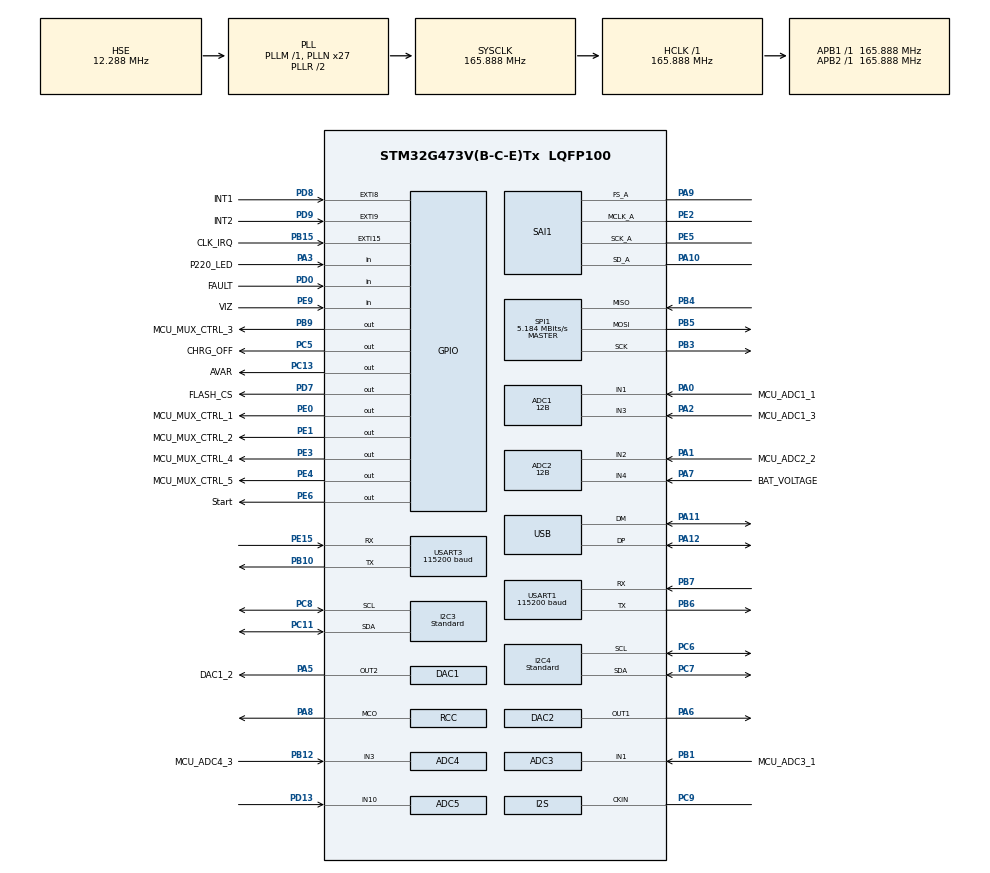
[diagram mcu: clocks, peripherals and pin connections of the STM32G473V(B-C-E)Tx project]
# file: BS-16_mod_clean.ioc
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ADC1.Channel-1\#ChannelRegularConversion=ADC_CHANNEL_1
ADC1.Channel-2\#ChannelRegularConversion=ADC_CHANNEL_3
ADC1.ClockPrescaler=ADC_CLOCK_SYNC_PCLK_DIV4
ADC1.ContinuousConvMode=DISABLE
ADC1.DMAContinuousRequests=DISABLE
ADC1.DataAlign=ADC_DATAALIGN_RIGHT
ADC1.DiscontinuousConvMode=DISABLE
ADC1.EOCSelection=ADC_EOC_SEQ_CONV
ADC1.EnableAnalogWatchDog1=false
ADC1.EnableAnalogWatchDog2=false
ADC1.EnableAnalogWatchDog3=false
ADC1.EnableInjectedConversion=DISABLE
ADC1.EnableRegularConversion=ENABLE
ADC1.ExternalTrigConv=ADC_SOFTWARE_START
ADC1.ExternalTrigConvEdge=ADC_EXTERNALTRIGCONVEDGE_NONE
ADC1.GainCompensation=0
ADC1.LowPowerAutoWait=DISABLE
ADC1.Mode=ADC_MODE_INDEPENDENT
ADC1.NbrOfConversion=2
ADC1.OffsetNumber-1\#ChannelRegularConversion=ADC_OFFSET_NONE
ADC1.OffsetNumber-2\#ChannelRegularConversion=ADC_OFFSET_NONE
ADC1.Overrun=ADC_OVR_DATA_PRESERVED
ADC1.OversamplingMode=DISABLE
ADC1.Rank-1\#ChannelRegularConversion=1
ADC1.Rank-2\#ChannelRegularConversion=2
ADC1.Resolution=ADC_RESOLUTION_12B
ADC1.SamplingTime-1\#ChannelRegularConversion=ADC_SAMPLETIME_92CYCLES_5
ADC1.SamplingTime-2\#ChannelRegularConversion=ADC_SAMPLETIME_92CYCLES_5
ADC1.ScanConvMode=ADC_SCAN_ENABLE
ADC1.master=1
ADC2.Channel-4\#ChannelRegularConversion=ADC_CHANNEL_2
ADC2.ClockPrescaler=ADC_CLOCK_SYNC_PCLK_DIV4
ADC2.ContinuousConvMode=DISABLE
ADC2.DMAContinuousRequests=DISABLE
ADC2.DataAlign=ADC_DATAALIGN_RIGHT
ADC2.DiscontinuousConvMode=DISABLE
ADC2.EOCSelection=ADC_EOC_SINGLE_CONV
ADC2.EnableAnalogWatchDog1=false
ADC2.EnableAnalogWatchDog2=false
ADC2.EnableAnalogWatchDog3=false
ADC2.EnableInjectedConversion=ENABLE
ADC2.EnableRegularConversion=ENABLE
ADC2.GainCompensation=0
ADC2.InjNumberOfConversion=1
ADC2.InjectedChannel-3\#ChannelInjectedConversion=ADC_CHANNEL_4
ADC2.InjectedConvMode=None
ADC2.InjectedOffsetNumber-3\#ChannelInjectedConversion=ADC_OFFSET_NONE
ADC2.InjectedRank-3\#ChannelInjectedConversion=1
ADC2.InjectedSamplingTime-3\#ChannelInjectedConversion=ADC_SAMPLETIME_92CYCLES_5
ADC2.LowPowerAutoWait=DISABLE
ADC2.Mode=ADC_MODE_INDEPENDENT
ADC2.NbrOfConversionFlag=1
ADC2.OffsetNumber-4\#ChannelRegularConversion=ADC_OFFSET_NONE
ADC2.Overrun=ADC_OVR_DATA_PRESERVED
ADC2.OversamplingMode=DISABLE
ADC2.Rank-4\#ChannelRegularConversion=1
ADC2.Resolution=ADC_RESOLUTION_12B
ADC2.SamplingTime-4\#ChannelRegularConversion=ADC_SAMPLETIME_92CYCLES_5
ADC2.ScanConvMode=ADC_SCAN_DISABLE
ADC3.Channel-1\#ChannelRegularConversion=ADC_CHANNEL_1
ADC3.Channel-IN1=ADC_CHANNEL_1
ADC3.ContinuousConvMode=DISABLE
ADC3.DMAContinuousRequests=DISABLE
ADC3.DataAlign=ADC_DATAALIGN_RIGHT
ADC3.DiscontinuousConvMode=DISABLE
ADC3.EOCSelection=ADC_EOC_SINGLE_CONV
ADC3.EnableAnalogWatchDog1=false
ADC3.EnableAnalogWatchDog2=false
ADC3.EnableAnalogWatchDog3=false
ADC3.EnableInjectedConversion=DISABLE
ADC3.EnableRegularConversion=ENABLE
ADC3.ExternalTrigConv=ADC_SOFTWARE_START
ADC3.ExternalTrigConvEdge=ADC_EXTERNALTRIGCONVEDGE_NONE
ADC3.GainCompensation=0
ADC3.LowPowerAutoWait=DISABLE
ADC3.Mode=ADC_MODE_INDEPENDENT
ADC3.NbrOfConversion=1
ADC3.OffsetNumber-1\#ChannelRegularConversion=ADC_OFFSET_NONE
ADC3.Overrun=ADC_OVR_DATA_PRESERVED
ADC3.OversamplingMode=DISABLE
ADC3.Rank-1\#ChannelRegularConversion=1
ADC3.Resolution=ADC_RESOLUTION_12B
ADC3.SamplingTime-1\#ChannelRegularConversion=ADC_SAMPLETIME_2CYCLES_5
ADC3.ScanConvMode=ADC_SCAN_DISABLE
ADC3.master=1
ADC4.Channel-1\#ChannelRegularConversion=ADC_CHANNEL_3
ADC4.Channel-IN3=ADC_CHANNEL_3
ADC4.ClockPrescaler=ADC_CLOCK_SYNC_PCLK_DIV4
ADC4.ContinuousConvMode=DISABLE
ADC4.DMAContinuousRequests=DISABLE
ADC4.DataAlign=ADC_DATAALIGN_RIGHT
ADC4.DiscontinuousConvMode=DISABLE
ADC4.EOCSelection=ADC_EOC_SINGLE_CONV
ADC4.EnableAnalogWatchDog1=false
ADC4.EnableAnalogWatchDog2=false
ADC4.EnableAnalogWatchDog3=false
ADC4.EnableInjectedConversion=DISABLE
ADC4.EnableRegularConversion=ENABLE
ADC4.ExternalTrigConv=ADC_EXTERNALTRIG_T20_TRGO
ADC4.ExternalTrigConvEdge=ADC_EXTERNALTRIGCONVEDGE_RISING
ADC4.GainCompensation=0
ADC4.LowPowerAutoWait=DISABLE
ADC4.Mode=ADC_MODE_INDEPENDENT
ADC4.NbrOfConversion=1
ADC4.OffsetNumber-1\#ChannelRegularConversion=ADC_OFFSET_NONE
ADC4.Overrun=ADC_OVR_DATA_PRESERVED
ADC4.OversamplingMode=DISABLE
ADC4.Rank-1\#ChannelRegularConversion=1
ADC4.Resolution=ADC_RESOLUTION_12B
ADC4.SamplingTime-1\#ChannelRegularConversion=ADC_SAMPLETIME_12CYCLES_5
ADC4.ScanConvMode=ADC_SCAN_DISABLE
ADC5.Channel-8\#ChannelRegularConversion=ADC_CHANNEL_10
ADC5.ContinuousConvMode=ENABLE
ADC5.DMAContinuousRequests=ENABLE
ADC5.ExternalTrigConv=ADC_EXTERNALTRIG_T15_TRGO
ADC5.NbrOfConversionFlag=1
ADC5.OffsetNumber-8\#ChannelRegularConversion=ADC_OFFSET_NONE
ADC5.Overrun=ADC_OVR_DATA_OVERWRITTEN
ADC5.Rank-8\#ChannelRegularConversion=1
ADC5.SamplingTime-8\#ChannelRegularConversion=ADC_SAMPLETIME_6CYCLES_5
DAC1.DAC_Channel-DAC_OUT2=DAC_CHANNEL_2
DAC1.DAC_Trigger_OUT2-DAC_OUT2=DAC_TRIGGER_T15_TRGO
DAC1.DAC_UserTrimming-DAC_OUT2=DAC_TRIMMING_FACTORY
DAC2.DAC_Trigger_OUT1-DAC_OUT1=DAC_TRIGGER_T15_TRGO
Dma.ADC1.0.Direction=DMA_PERIPH_TO_MEMORY
Dma.ADC1.0.EventEnable=DISABLE
Dma.ADC1.0.Instance=DMA1_Channel3
Dma.ADC1.0.MemDataAlignment=DMA_MDATAALIGN_HALFWORD
Dma.ADC1.0.MemInc=DMA_MINC_ENABLE
Dma.ADC1.0.Mode=DMA_NORMAL
Dma.ADC1.0.PeriphDataAlignment=DMA_PDATAALIGN_HALFWORD
Dma.ADC1.0.PeriphInc=DMA_PINC_DISABLE
Dma.ADC1.0.Polarity=HAL_DMAMUX_REQ_GEN_RISING
Dma.ADC1.0.Priority=DMA_PRIORITY_LOW
Dma.ADC1.0.RequestNumber=1
Dma.ADC1.0.SignalID=NONE
Dma.ADC1.0.SyncEnable=DISABLE
Dma.ADC1.0.SyncPolarity=HAL_DMAMUX_SYNC_NO_EVENT
Dma.ADC1.0.SyncRequestNumber=1
Dma.ADC1.0.SyncSignalID=NONE
Dma.ADC2.3.Direction=DMA_PERIPH_TO_MEMORY
Dma.ADC2.3.EventEnable=DISABLE
Dma.ADC2.3.Instance=DMA1_Channel7
Dma.ADC2.3.MemDataAlignment=DMA_MDATAALIGN_HALFWORD
Dma.ADC2.3.MemInc=DMA_MINC_ENABLE
Dma.ADC2.3.Mode=DMA_NORMAL
Dma.ADC2.3.PeriphDataAlignment=DMA_PDATAALIGN_HALFWORD
Dma.ADC2.3.PeriphInc=DMA_PINC_DISABLE
Dma.ADC2.3.Polarity=HAL_DMAMUX_REQ_GEN_RISING
Dma.ADC2.3.Priority=DMA_PRIORITY_LOW
Dma.ADC2.3.RequestNumber=1
Dma.ADC2.3.SignalID=NONE
Dma.ADC2.3.SyncEnable=DISABLE
Dma.ADC2.3.SyncPolarity=HAL_DMAMUX_SYNC_NO_EVENT
Dma.ADC2.3.SyncRequestNumber=1
Dma.ADC2.3.SyncSignalID=NONE
Dma.ADC3.1.Direction=DMA_PERIPH_TO_MEMORY
Dma.ADC3.1.EventEnable=DISABLE
Dma.ADC3.1.Instance=DMA1_Channel4
Dma.ADC3.1.MemDataAlignment=DMA_MDATAALIGN_HALFWORD
Dma.ADC3.1.MemInc=DMA_MINC_ENABLE
Dma.ADC3.1.Mode=DMA_NORMAL
Dma.ADC3.1.PeriphDataAlignment=DMA_PDATAALIGN_HALFWORD
Dma.ADC3.1.PeriphInc=DMA_PINC_DISABLE
Dma.ADC3.1.Polarity=HAL_DMAMUX_REQ_GEN_RISING
Dma.ADC3.1.Priority=DMA_PRIORITY_LOW
Dma.ADC3.1.RequestNumber=1
Dma.ADC3.1.SignalID=NONE
Dma.ADC3.1.SyncEnable=DISABLE
Dma.ADC3.1.SyncPolarity=HAL_DMAMUX_SYNC_NO_EVENT
Dma.ADC3.1.SyncRequestNumber=1
Dma.ADC3.1.SyncSignalID=NONE
Dma.ADC5.6.Direction=DMA_PERIPH_TO_MEMORY
Dma.ADC5.6.EventEnable=DISABLE
Dma.ADC5.6.Instance=DMA1_Channel2
Dma.ADC5.6.MemDataAlignment=DMA_MDATAALIGN_HALFWORD
Dma.ADC5.6.MemInc=DMA_MINC_ENABLE
Dma.ADC5.6.Mode=DMA_CIRCULAR
Dma.ADC5.6.PeriphDataAlignment=DMA_PDATAALIGN_HALFWORD
Dma.ADC5.6.PeriphInc=DMA_PINC_DISABLE
Dma.ADC5.6.Polarity=HAL_DMAMUX_REQ_GEN_RISING
Dma.ADC5.6.Priority=DMA_PRIORITY_LOW
Dma.ADC5.6.RequestNumber=1
Dma.ADC5.6.SignalID=NONE
Dma.ADC5.6.SyncEnable=DISABLE
Dma.ADC5.6.SyncPolarity=HAL_DMAMUX_SYNC_NO_EVENT
Dma.ADC5.6.SyncRequestNumber=1
Dma.ADC5.6.SyncSignalID=NONE
Dma.DAC1_CH2.4.Direction=DMA_MEMORY_TO_PERIPH
Dma.DAC1_CH2.4.EventEnable=DISABLE
Dma.DAC1_CH2.4.Instance=DMA1_Channel8
Dma.DAC1_CH2.4.MemDataAlignment=DMA_MDATAALIGN_HALFWORD
Dma.DAC1_CH2.4.MemInc=DMA_MINC_ENABLE
Dma.DAC1_CH2.4.Mode=DMA_CIRCULAR
Dma.DAC1_CH2.4.PeriphDataAlignment=DMA_PDATAALIGN_WORD
Dma.DAC1_CH2.4.PeriphInc=DMA_PINC_DISABLE
Dma.DAC1_CH2.4.Polarity=HAL_DMAMUX_REQ_GEN_RISING
Dma.DAC1_CH2.4.Priority=DMA_PRIORITY_LOW
Dma.DAC1_CH2.4.RequestNumber=1
Dma.DAC1_CH2.4.SignalID=NONE
Dma.DAC1_CH2.4.SyncEnable=DISABLE
Dma.DAC1_CH2.4.SyncPolarity=HAL_DMAMUX_SYNC_NO_EVENT
Dma.DAC1_CH2.4.SyncRequestNumber=1
Dma.DAC1_CH2.4.SyncSignalID=NONE
Dma.DAC2_CH1.2.Direction=DMA_MEMORY_TO_PERIPH
Dma.DAC2_CH1.2.EventEnable=DISABLE
Dma.DAC2_CH1.2.Instance=DMA1_Channel5
Dma.DAC2_CH1.2.MemDataAlignment=DMA_MDATAALIGN_HALFWORD
Dma.DAC2_CH1.2.MemInc=DMA_MINC_ENABLE
Dma.DAC2_CH1.2.Mode=DMA_CIRCULAR
Dma.DAC2_CH1.2.PeriphDataAlignment=DMA_PDATAALIGN_WORD
Dma.DAC2_CH1.2.PeriphInc=DMA_PINC_DISABLE
Dma.DAC2_CH1.2.Polarity=HAL_DMAMUX_REQ_GEN_RISING
Dma.DAC2_CH1.2.Priority=DMA_PRIORITY_LOW
Dma.DAC2_CH1.2.RequestNumber=1
Dma.DAC2_CH1.2.SignalID=NONE
Dma.DAC2_CH1.2.SyncEnable=DISABLE
Dma.DAC2_CH1.2.SyncPolarity=HAL_DMAMUX_SYNC_NO_EVENT
Dma.DAC2_CH1.2.SyncRequestNumber=1
Dma.DAC2_CH1.2.SyncSignalID=NONE
Dma.Request0=ADC1
Dma.Request1=ADC3
Dma.Request2=DAC2_CH1
Dma.Request3=ADC2
Dma.Request4=DAC1_CH2
Dma.Request5=SAI1_A
Dma.Request6=ADC5
Dma.SAI1_A.5.Direction=DMA_MEMORY_TO_PERIPH
Dma.SAI1_A.5.EventEnable=DISABLE
Dma.SAI1_A.5.Instance=DMA1_Channel1
Dma.SAI1_A.5.MemDataAlignment=DMA_MDATAALIGN_WORD
Dma.SAI1_A.5.MemInc=DMA_MINC_ENABLE
Dma.SAI1_A.5.Mode=DMA_CIRCULAR
Dma.SAI1_A.5.PeriphDataAlignment=DMA_PDATAALIGN_WORD
Dma.SAI1_A.5.PeriphInc=DMA_PINC_DISABLE
Dma.SAI1_A.5.Polarity=HAL_DMAMUX_REQ_GEN_RISING
Dma.SAI1_A.5.Priority=DMA_PRIORITY_MEDIUM
Dma.SAI1_A.5.RequestNumber=1
Dma.SAI1_A.5.SignalID=NONE
Dma.SAI1_A.5.SyncEnable=DISABLE
Dma.SAI1_A.5.SyncPolarity=HAL_DMAMUX_SYNC_NO_EVENT
Dma.SAI1_A.5.SyncRequestNumber=1
Dma.SAI1_A.5.SyncSignalID=NONE
I2C3.AddressingMode=I2C_ADDRESSINGMODE_7BIT
I2C3.Analog_Filter=I2C_ANALOGFILTER_ENABLE
I2C3.CustomTiming=Disabled
I2C3.DualAddressMode=I2C_DUALADDRESS_DISABLE
I2C3.GeneralCallMode=I2C_GENERALCALL_DISABLE
I2C3.I2C_Coeff_DF=0
I2C3.I2C_Fall_Time=100
I2C3.I2C_Rise_Time=100
I2C3.I2C_Speed_Mode=I2C_Standard
I2C3.NoStretchMode=I2C_NOSTRETCH_DISABLE
I2C3.OwnAddress=0
I2C3.Speed=100
I2C3.Timing=0x40B282BD
I2C4.AddressingMode=I2C_ADDRESSINGMODE_7BIT
I2C4.Analog_Filter=I2C_ANALOGFILTER_ENABLE
I2C4.CustomTiming=Disabled
I2C4.DualAddressMode=I2C_DUALADDRESS_DISABLE
I2C4.GeneralCallMode=I2C_GENERALCALL_DISABLE
I2C4.I2C_Coeff_DF=0
I2C4.I2C_Fall_Time=100
I2C4.I2C_Rise_Time=100
I2C4.I2C_Speed_Mode=I2C_Standard
I2C4.NoStretchMode=I2C_NOSTRETCH_DISABLE
I2C4.OwnAddress=0
I2C4.Speed=100
I2C4.Timing=0x40B282BD
Mcu.Family=STM32G4
Mcu.Name=STM32G473V(B-C-E)Tx
Mcu.Package=LQFP100
NVIC.ADC1_2_IRQn=true\:0\:0\:false\:false\:true\:true\:true\:true
NVIC.ADC3_IRQn=true\:0\:0\:false\:false\:true\:true\:true\:true
NVIC.ADC4_IRQn=true\:0\:0\:false\:false\:true\:true\:true\:true
NVIC.ADC5_IRQn=true\:0\:0\:false\:false\:true\:true\:true\:true
NVIC.DMA1_Channel1_IRQn=true\:0\:0\:false\:false\:true\:false\:true\:true
NVIC.DMA1_Channel2_IRQn=true\:0\:0\:false\:false\:true\:false\:true\:true
NVIC.DMA1_Channel3_IRQn=true\:0\:0\:false\:false\:true\:false\:true\:true
NVIC.DMA1_Channel4_IRQn=true\:0\:0\:false\:false\:true\:false\:true\:true
NVIC.DMA1_Channel5_IRQn=true\:0\:0\:false\:false\:true\:false\:true\:true
NVIC.DMA1_Channel7_IRQn=true\:0\:0\:false\:false\:true\:false\:true\:true
NVIC.DMA1_Channel8_IRQn=true\:0\:0\:false\:false\:true\:false\:true\:true
NVIC.PriorityGroup=NVIC_PRIORITYGROUP_4
NVIC.TIM1_BRK_TIM15_IRQn=true\:0\:0\:false\:false\:true\:true\:true\:true
NVIC.TIM4_IRQn=true\:0\:0\:false\:false\:true\:true\:true\:true
NVIC.TIM6_DAC_IRQn=true\:0\:0\:false\:false\:true\:true\:true\:true
NVIC.TIM7_DAC_IRQn=true\:0\:0\:false\:false\:true\:true\:true\:true
NVIC.USART1_IRQn=true\:0\:0\:false\:false\:true\:true\:true\:true
NVIC.USART3_IRQn=true\:0\:0\:false\:false\:true\:true\:true\:true
NVIC.USB_HP_IRQn=true\:0\:0\:false\:false\:true\:true\:true\:true
NVIC.USB_LP_IRQn=true\:0\:0\:false\:false\:true\:false\:true\:true
PA0.GPIO_Label=MCU_ADC1_1
PA0.Mode=IN1-Single-Ended
PA0.Signal=ADC1_IN1
PA1.GPIO_Label=MCU_ADC2_2
PA1.Mode=IN2-Single-Ended
PA1.Signal=ADC2_IN2
PA10.GPIO_Speed=GPIO_SPEED_FREQ_LOW
PA10.Mode=SAI_A_MasterWithClock
PA10.Signal=SAI1_SD_A
PA11.Mode=Device
PA11.Signal=USB_DM
PA12.Mode=Device
PA12.Signal=USB_DP
PA13.Mode=Serial_Wire
PA13.Signal=SYS_JTMS-SWDIO
PA14.Mode=Serial_Wire
PA14.Signal=SYS_JTCK-SWCLK
PA2.GPIO_Label=MCU_ADC1_3
PA2.Mode=IN3-Single-Ended
PA2.Signal=ADC1_IN3
PA3.GPIO_Label=P220_LED
PA3.Signal=GPIO_Input
PA5.GPIO_Label=DAC1_2
PA5.Signal=COMP_DAC12_group
PA6.Signal=COMP_DAC21_group
PA7.GPIO_Label=BAT_VOLTAGE
PA7.Mode=IN4-Single-Ended
PA7.Signal=ADC2_IN4
PA8.Mode=Clock-out
PA8.Signal=RCC_MCO
PA9.GPIO_Speed=GPIO_SPEED_FREQ_LOW
PA9.Mode=SAI_A_MasterWithClock
PA9.Signal=SAI1_FS_A
PB1.GPIO_Label=MCU_ADC3_1
PB1.Mode=IN1-Single-Ended
PB1.Signal=ADC3_IN1
PB10.Mode=Asynchronous
PB10.Signal=USART3_TX
PB12.GPIO_Label=MCU_ADC4_3
PB12.Mode=IN3-Single-Ended
PB12.Signal=ADC4_IN3
PB15.GPIO_Label=CLK_IRQ
PB15.Signal=GPXTI15
PB3.Mode=Full_Duplex_Master
PB3.Signal=SPI1_SCK
PB4.Mode=Full_Duplex_Master
PB4.Signal=SPI1_MISO
PB5.Mode=Full_Duplex_Master
PB5.Signal=SPI1_MOSI
PB6.Mode=Asynchronous
PB6.Signal=USART1_TX
PB7.Mode=Asynchronous
PB7.Signal=USART1_RX
PB9.GPIO_Label=MCU_MUX_CTRL_3
PB9.Signal=GPIO_Output
PC11.GPIO_Pu=GPIO_PULLUP
PC11.Mode=I2C
PC11.Signal=I2C3_SDA
PC13.GPIO_Label=AVAR
PC13.Signal=GPIO_Output
PC14-OSC32_IN.Mode=LSE-External-Oscillator
PC14-OSC32_IN.Signal=RCC_OSC32_IN
PC15-OSC32_OUT.Mode=LSE-External-Oscillator
PC15-OSC32_OUT.Signal=RCC_OSC32_OUT
PC5.GPIO_Label=CHRG_OFF
PC5.GPIO_Speed=GPIO_SPEED_FREQ_LOW
PC5.Signal=GPIO_Output
PC6.GPIO_Pu=GPIO_PULLUP
PC6.Mode=I2C
PC6.Signal=I2C4_SCL
PC7.GPIO_Pu=GPIO_PULLUP
PC7.Mode=I2C
PC7.Signal=I2C4_SDA
PC8.GPIO_Pu=GPIO_PULLUP
PC8.Mode=I2C
PC8.Signal=I2C3_SCL
PC9.Mode=Audio_ClockIn
PC9.Signal=I2S_CKIN
PD0.GPIO_Label=FAULT
PD0.Signal=GPIO_Input
PD13.Mode=IN10-Single-Ended
PD13.Signal=ADC5_IN10
PD7.GPIO_Label=FLASH_CS
PD7.Signal=GPIO_Output
PD8.GPIO_Label=INT1
PD8.GPIO_ModeDefaultEXTI=GPIO_MODE_IT_RISING_FALLING
PD8.Signal=GPXTI8
PD9.GPIO_Label=INT2
PD9.Signal=GPXTI9
PE0.GPIO_Label=MCU_MUX_CTRL_1
PE0.Signal=GPIO_Output
PE1.GPIO_Label=MCU_MUX_CTRL_2
PE1.Signal=GPIO_Output
PE15.Mode=Asynchronous
PE15.Signal=USART3_RX
PE2.GPIO_Speed=GPIO_SPEED_FREQ_LOW
PE2.Mode=SAI_A_MasterWithClock
PE2.Signal=SAI1_MCLK_A
PE3.GPIO_Label=MCU_MUX_CTRL_4
PE3.PinState=GPIO_PIN_SET
PE3.Signal=GPIO_Output
PE4.GPIO_Label=MCU_MUX_CTRL_5
PE4.PinState=GPIO_PIN_SET
PE4.Signal=GPIO_Output
PE5.GPIO_Speed=GPIO_SPEED_FREQ_LOW
PE5.Mode=SAI_A_MasterWithClock
PE5.Signal=SAI1_SCK_A
PE6.GPIO_Label=Start
PE6.Signal=GPIO_Output
PE9.GPIO_Label=VIZ
PE9.Signal=GPIO_Input
PF0-OSC_IN.Mode=HSE-External-Oscillator
PF0-OSC_IN.Signal=RCC_OSC_IN
PF1-OSC_OUT.Mode=HSE-External-Oscillator
PF1-OSC_OUT.Signal=RCC_OSC_OUT
ProjectManager.HeapSize=0x400
ProjectManager.StackSize=0x800
ProjectManager.TargetToolchain=STM32CubeIDE
RCC.ADC12Freq_Value=165888000
RCC.ADC345Freq_Value=165888000
RCC.AHBFreq_Value=165888000
RCC.APB1Freq_Value=165888000
RCC.APB1TimFreq_Value=165888000
RCC.APB2Freq_Value=165888000
RCC.APB2TimFreq_Value=165888000
RCC.CK48CLockSelection=RCC_USBCLKSOURCE_HSI48
RCC.CortexFreq_Value=165888000
RCC.EXTERNAL_CLOCK_VALUE=12288000
RCC.FLatency=FLASH_LATENCY_4
RCC.HCLKFreq_Value=165888000
RCC.HSE_VALUE=12288000
RCC.HSI48_VALUE=48000000
RCC.HSI_VALUE=16000000
RCC.PLLN=27
RCC.PLLSourceVirtual=RCC_PLLSOURCE_HSE
RCC.RCC_MCO1Source=RCC_MCO1SOURCE_HSE
RCC.RTCClockSelection=RCC_RTCCLKSOURCE_LSE
RCC.SAI1CLockSelection=RCC_SAI1CLKSOURCE_EXT
RCC.SYSCLKFreq_VALUE=165888000
RCC.SYSCLKSource=RCC_SYSCLKSOURCE_PLLCLK
RCC.USBFreq_Value=48000000
RCC.VCOOutputFreq_Value=331776000
RTC.AsynchPrediv=127
RTC.HourFormat=RTC_HOURFORMAT_24
RTC.SynchPrediv=255
SAI1.AudioFrequency-SAI_A_MasterWithClock=SAI_AUDIO_FREQUENCY_48K
SAI1.AudioMode-SAI_A_MasterWithClock=SAI_MODEMASTER_TX
SAI1.ClockStrobing-SAI_A_MasterWithClock=SAI_CLOCKSTROBING_RISINGEDGE
SAI1.DataSize-SAI_A_MasterWithClock=SAI_DATASIZE_32
SAI1.FIFOThreshold-SAI_A_MasterWithClock=SAI_FIFOTHRESHOLD_EMPTY
SAI1.FSDefinition-SAI_A_MasterWithClock=SAI_FS_STARTFRAME
SAI1.FSOffset-SAI_A_MasterWithClock=SAI_FS_FIRSTBIT
SAI1.FSPolarity-SAI_A_MasterWithClock=SAI_FS_ACTIVE_LOW
SAI1.FirstBit-SAI_A_MasterWithClock=SAI_FIRSTBIT_MSB
SAI1.FrameLength-SAI_A_MasterWithClock=256
SAI1.Instance-SAI_A_MasterWithClock=SAI$Index_Block_A
SAI1.MckOutput-SAI_A_MasterWithClock=SAI_MCK_OUTPUT_ENABLE
SAI1.MckOverSampling-SAI_A_MasterWithClock=SAI_MCK_OVERSAMPLING_DISABLE
SAI1.MonoStereoMode-SAI_A_MasterWithClock=SAI_STEREOMODE
SAI1.NoDivider-SAI_A_MasterWithClock=SAI_MASTERDIVIDER_ENABLE
SAI1.OutputDrive-SAI_A_MasterWithClock=SAI_OUTPUTDRIVE_ENABLE
SAI1.SlotActive-SAI_A_MasterWithClock=0x000000FF
SAI1.SlotNumber-SAI_A_MasterWithClock=8
SAI1.SlotSize-SAI_A_MasterWithClock=SAI_SLOTSIZE_DATASIZE
SAI1.VirtualMode-SAI_A_MasterWithClock=VM_MASTER
SAI1.VirtualSlotActive-SAI_A_MasterWithClock=SAI_SLOT_USERSETTING
SAI1.VirtualSlotActive0-SAI_A_MasterWithClock=true
SAI1.VirtualSlotActive1-SAI_A_MasterWithClock=true
SAI1.VirtualSlotActive2-SAI_A_MasterWithClock=true
SAI1.VirtualSlotActive3-SAI_A_MasterWithClock=true
SAI1.VirtualSlotActive4-SAI_A_MasterWithClock=true
SAI1.VirtualSlotActive5-SAI_A_MasterWithClock=true
SAI1.VirtualSlotActive6-SAI_A_MasterWithClock=true
SAI1.VirtualSlotActive7-SAI_A_MasterWithClock=true
SH.COMP_DAC12_group.0=DAC1_OUT2,DAC_OUT2
SH.COMP_DAC21_group.0=DAC2_OUT1,DAC_OUT1
SPI1.BaudRatePrescaler=SPI_BAUDRATEPRESCALER_32
SPI1.CLKPhase=SPI_PHASE_1EDGE
SPI1.CLKPolarity=SPI_POLARITY_LOW
SPI1.CRCCalculation=SPI_CRCCALCULATION_DISABLE
SPI1.CalculateBaudRate=5.184 MBits/s
SPI1.DataSize=SPI_DATASIZE_8BIT
SPI1.Direction=SPI_DIRECTION_2LINES
SPI1.FirstBit=SPI_FIRSTBIT_MSB
SPI1.Mode=SPI_MODE_MASTER
SPI1.NSS=SPI_NSS_SOFT
SPI1.NSSPMode=SPI_NSS_PULSE_DISABLE
SPI1.TIMode=SPI_TIMODE_DISABLE
SPI1.VirtualType=VM_MASTER
TIM15.AutoReloadPreload=TIM_AUTORELOAD_PRELOAD_ENABLE
TIM15.PeriodNoDither=39
TIM15.Prescaler=35
TIM15.TIM_MasterOutputTrigger=TIM_TRGO_UPDATE
TIM20.AutoReloadPreload=TIM_AUTORELOAD_PRELOAD_ENABLE
TIM20.PeriodNoDither=555
TIM20.Prescaler=35
TIM20.TIM_MasterOutputTrigger=TIM_TRGO_UPDATE
TIM4.AutoReloadPreload=TIM_AUTORELOAD_PRELOAD_ENABLE
TIM4.Dithering=Enable
TIM4.Fractionnal_PeriodDither=8
TIM4.Integer_PeriodDither=3761
TIM4.TIM_MasterOutputTrigger=TIM_TRGO_UPDATE
USART1.AutoBaudRateEnableParam=UART_ADVFEATURE_AUTOBAUDRATE_DISABLE
USART1.BaudRate=115200
USART1.ClockPrescaler=PRESCALER_DIV1
USART1.DMADisableonRxErrorParam=ADVFEATURE_DMA_ENABLEONRXERROR
USART1.DataInvertParam=ADVFEATURE_DATAINV_DISABLE
USART1.FIFOMode=FIFOMODE_DISABLE
USART1.MSBFirstParam=ADVFEATURE_MSBFIRST_DISABLE
USART1.Mode=MODE_TX_RX
USART1.OneBitSampling=UART_ONE_BIT_SAMPLE_DISABLE
USART1.OverSampling=UART_OVERSAMPLING_16
USART1.OverrunDisableParam=ADVFEATURE_OVERRUN_ENABLE
USART1.Parity=PARITY_NONE
USART1.RXFIFOThreshold=RXFIFO_THRESHOLD_1EIGHTHFULL
USART1.RxPinLevelInvertParam=ADVFEATURE_RXINV_DISABLE
USART1.StopBits=STOPBITS_1
USART1.SwapParam=ADVFEATURE_SWAP_DISABLE
USART1.TXFIFOThreshold=TXFIFO_THRESHOLD_1EIGHTHFULL
USART1.TxPinLevelInvertParam=ADVFEATURE_TXINV_DISABLE
USART1.VirtualMode-Asynchronous=VM_ASYNC
USART1.WordLength=WORDLENGTH_8B
USART3.AutoBaudRateEnableParam=UART_ADVFEATURE_AUTOBAUDRATE_DISABLE
USART3.BaudRate=115200
USART3.ClockPrescaler=PRESCALER_DIV1
USART3.DMADisableonRxErrorParam=ADVFEATURE_DMA_ENABLEONRXERROR
USART3.DataInvertParam=ADVFEATURE_DATAINV_DISABLE
USART3.FIFOMode=FIFOMODE_DISABLE
USART3.MSBFirstParam=ADVFEATURE_MSBFIRST_DISABLE
USART3.Mode=MODE_TX_RX
USART3.OneBitSampling=UART_ONE_BIT_SAMPLE_DISABLE
USART3.OverSampling=UART_OVERSAMPLING_16
USART3.OverrunDisableParam=ADVFEATURE_OVERRUN_ENABLE
USART3.Parity=PARITY_NONE
USART3.RXFIFOThreshold=RXFIFO_THRESHOLD_1EIGHTHFULL
USART3.RxPinLevelInvertParam=ADVFEATURE_RXINV_DISABLE
USART3.StopBits=STOPBITS_1
USART3.SwapParam=ADVFEATURE_SWAP_DISABLE
USART3.TXFIFOThreshold=TXFIFO_THRESHOLD_1EIGHTHFULL
USART3.TxPinLevelInvertParam=ADVFEATURE_TXINV_DISABLE
USART3.VirtualMode-Asynchronous=VM_ASYNC
USART3.WordLength=WORDLENGTH_8B
USB.DeviceSpeed=PCD_SPEED_FULL
USB.Sof_enable=DISABLE
USB.battery_charging_enable=DISABLE
USB.low_power_enable=DISABLE
USB.lpm_enable=DISABLE
USB.phy_itface=PCD_PHY_EMBEDDED
USB_DEVICE.CLASS_NAME_FS=MSC
USB_DEVICE.LANGID_STRING=1033
USB_DEVICE.MANUFACTURER_STRING=STMicroelectronics
USB_DEVICE.USBD_DEBUG_LEVEL=0
USB_DEVICE.USBD_LPM_ENABLED=1
USB_DEVICE.USBD_MAX_NUM_CONFIGURATION=1
USB_DEVICE.USBD_MAX_NUM_INTERFACES=1
USB_DEVICE.USBD_MAX_STR_DESC_SIZ=512
USB_DEVICE.USBD_SELF_POWERED=1
USB_DEVICE.VID=1155
USB_DEVICE.VirtualMode=Msc
USB_DEVICE.VirtualModeFS=Msc_FS
VP_RTC_VS_RTC_Activate.Mode=RTC_Enabled
VP_SYS_VS_DBSignals.Mode=DisableDeadBatterySignals
VP_TIM15_VS_ClockSourceINT.Mode=Internal
VP_TIM20_VS_ClockSourceINT.Mode=Internal
VP_TIM4_VS_ClockSourceINT.Mode=Internal
VP_USB_DEVICE_VS_USB_DEVICE_MSC_FS.Mode=MSC_FS
board=custom

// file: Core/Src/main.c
/* USER CODE BEGIN Header */
/**
  ******************************************************************************
  * @file           : main.c
  * @brief          : Main program body
  ******************************************************************************
  * @attention
  *
  * Copyright (c) 2026 STMicroelectronics.
  * All rights reserved.
  *
  * This software is licensed under terms that can be found in the LICENSE file
  * in the root directory of this software component.
  * If no LICENSE file comes with this software, it is provided AS-IS.
  *
  ******************************************************************************
  */
/* USER CODE END Header */
#include "main.h"
#include "adc.h"
#include "dac.h"
#include "dma.h"
#include "i2c.h"
#include "rtc.h"
#include "sai.h"
#include "spi.h"
#include "tim.h"
#include "usart.h"
#include "usb_device.h"
#include "gpio.h"

/* USER CODE BEGIN Includes */
#include "pca9535.h"
#include "stm_util.h"
#include "mki.h"
#include "mux.h"
#include "console.h"
#include "rtc_periph.h"
#include "local_mic.h"
#include "local_spk.h"
#include "ctrl.h"
#include "akb.h"
#include "fault.h"
#include "datetime_util.h"
#include "fatfs_util.h"
#include "flash_io.h"
#include "setting.h"
#include "logfile_util.h"
#include "str_util.h"
#include "mp3play_util.h"
//#include "memplay_util.h"
#include "dacplay_util.h"
#include "mp3files.h"
#include "password.h"
#include "buzzer.h"
#include "usb_device.h"
#include "TAS5720.h"

//#include "usb_terminal.h"
#include "default_bootloader_jump.h"
#include "mcp.h"
#include "remote_mic.h"
#include "local_mic.h"
#include "remote_spk.h"
#include "local_spk.h"
/* USER CODE END Includes */

/* USER CODE BEGIN PD */

//#define TOTAL_SAMPLES 16384

/* USER CODE END PD */

/* USER CODE BEGIN PV */

uint8_t testreg[2] = {255, 255};
uint8_t testreg2[2] = {0, 0};
uint8_t configreg[2] = {0, 0};

uint32_t testsound[256] = {};
uint16_t testval = 1;
uint16_t _err_sai = 0;
uint8_t await_debug = 1;
// Итоговый размер буфера: 2048 фреймов * 8 каналов = 16384 элементов

uint32_t test_adc_buffer[TOTAL_SAMPLES];

uint8_t extenders_debug_reg = 0;
uint8_t extenders_debug_reg_read[8] = {};
uint16_t debug_adc[8] = {};
int8_t extenders_error = 0;
uint16_t test_output = 255;//255;
uint8_t reset_timer = 0;

/* USER CODE END PV */

void SystemClock_Config(void);

/* USER CODE BEGIN 0 */
bool fatfs_mount = false;
bool debug_int_spk = false;

/*typedef struct pca9535_s
{
	I2C_HandleTypeDef* idx;
    unsigned short addr;
    bool busy;
    bool err;
} pca9535_t;*/
//pca9535_t_0, pca9535_t_1, pca9535_t_2, pca9535_t_3;
//DD4 IO0_0

//pca9535_set_reg(pca9535_t * pca9535, pca9535_reg_type_t reg_type, pca9535_port_t port, unsigned char *value, int len)
void test_pin(uint8_t _state)
{
	extenders_debug_reg = _state;
	pca9535_set_reg(&pca9535_t_DD4_MB, PCA9535_REG_TYPE_OUTPUT, PCA9535_PORT_0, &extenders_debug_reg, 1);
	//pca9535_set_reg(&pca9535_t_DD4_MB, PCA9535_REG_OUTPUT_0, PCA9535_PORT_0, &extenders_debug_reg, PCA9535_PORT_0);
	//pca9535_i2c_write(&pca9535_t_DD4_MB, pca9535_t_DD4_MB.addr, PCA9535_REG_OUTPUT_0, extenders_debug_reg);
}

extern uint32_t dd5_change_tick, dd6_change_tick;

uint32_t magic_boot __attribute__ ((section (".noinit")));

void HAL_GPIO_EXTI_Callback(uint16_t GPIO_Pin)
{
    //fulog_fmt("i%d"CRLF, GPIO_Pin);
    if (GPIO_Pin == INT1_Pin)
    {
        dd5_change_tick = HAL_GetTickNoZero();
    }
    else if (GPIO_Pin == INT2_Pin)
    {
        dd6_change_tick = HAL_GetTickNoZero();
    }
    else if(GPIO_Pin == CLK_IRQ_Pin)
    {

    }
}

void UART_flush(UART_HandleTypeDef *huart)
{
  // Flush UART RX buffer if RXNE is set
  if READ_BIT(huart->Instance->ISR, UART_FLAG_RXNE)
  {
    SET_BIT(huart->Instance->RQR, UART_RXDATA_FLUSH_REQUEST);
  }

  // Not available on F030xx devices!
  SET_BIT(huart->Instance->RQR, UART_TXDATA_FLUSH_REQUEST);

  // Clear All Errors (if needed)
  if (READ_BIT(huart->Instance->ISR, UART_FLAG_ORE | UART_FLAG_FE | UART_FLAG_NE))
  {
    __HAL_UART_CLEAR_PEFLAG(huart);
    __HAL_UART_CLEAR_OREFLAG(huart);
    __HAL_UART_CLEAR_FEFLAG(huart);
    __HAL_UART_CLEAR_NEFLAG(huart);
    __HAL_UART_CLEAR_IDLEFLAG(huart);
    __HAL_UART_CLEAR_TXFECF(huart);
  }
}

void HAL_UART_ErrorCallback(UART_HandleTypeDef *huart)
{
    UART_flush(huart);
}

void HAL_UARTEx_RxEventCallback(UART_HandleTypeDef *huart, uint16_t Size)
{
    if (huart == CONSOLE_UART)
    {
        console_RxEventCallback(Size);
    }
}

void HAL_ADC_ConvHalfCpltCallback(ADC_HandleTypeDef* hadc)
{
    if (hadc == REMOTE_MIC_ADC_HANDLE)
    {
        remote_mic_adc_HalfCpltCallback();
    }
    else if(hadc == LOCAL_SPK_ADC_HANDLE)
    {
        local_spk_adc_HalfCpltCallback();
    }
}

void HAL_ADC_ConvCpltCallback(ADC_HandleTypeDef* hadc)
{
    if(hadc == LOCAL_MIC_ADC_HANDLE)  //тангента
    {
    	uint32_t adc_val;
    	adc_val = HAL_ADC_GetValue(LOCAL_MIC_ADC_HANDLE);
    	sai_buffer[local_mic_adc.index] = adc_val << 8;//12bit ->24bit
    	if(local_mic_adc.index < TOTAL_SAMPLES * TDM_CHANNELS)
    	{
    		local_mic_adc.index = local_mic_adc.index + tdm_active_ch + TDM_CHANNELS; //кладём звук в канал выбранного ЦАПА
    	}
    	else
    	{
    		local_mic_adc.index = 0;
    	}
    }
    else if (hadc == REMOTE_MIC_ADC_HANDLE)  //внешний микрофон, панель
        {
            remote_mic_adc_FullCpltCallback();
        }
    else
    {
        ctrl_FullCpltCallback(hadc);
    }
}

/*void HAL_DAC_ConvHalfCpltCallbackCh1(DAC_HandleTypeDef *hdac)
{
    if (hdac == REMOTE_MIC_DAC_HANDLE)
    {
        local_mic_dac_HalfCpltCallback();
    }
}

void HAL_DAC_ConvCpltCallbackCh1(DAC_HandleTypeDef *hdac)
{
    if (hdac == REMOTE_MIC_DAC_HANDLE)
    {
        remote_mic_dac_FullCpltCallback();
    }
}*/

void HAL_DACEx_ConvHalfCpltCallbackCh2(DAC_HandleTypeDef *hdac)
{
    if (hdac == LOCAL_SPK_DAC_HANDLE)
    {
    	remote_mic_adc_HalfCpltCallback();
        //local_spk_dac_HalfCpltCallback();
    }
}

void HAL_DACEx_ConvCpltCallbackCh2(DAC_HandleTypeDef *hdac)
{
    if (hdac == LOCAL_SPK_DAC_HANDLE)
    {
    	remote_mic_adc_FullCpltCallback();
        //local_spk_dac_FullCpltCallback();
    }
}

void HAL_DAC_ErrorCallbackCh1(DAC_HandleTypeDef *hdac)
{
}

void HAL_DACEx_ErrorCallbackCh2(DAC_HandleTypeDef *hdac)
{
}

// Half-transfer callback (First half is ready to read)
void HAL_SAI_RxHalfCpltCallback(SAI_HandleTypeDef *hsai) {
    //process_audio_data(&sai_buffer[0], BUFFER_SIZE / 2);
}

// Transfer-complete callback (Second half is ready to read)
void HAL_SAI_RxCpltCallback(SAI_HandleTypeDef *hsai) {
    //process_audio_data(&sai_buffer[BUFFER_SIZE / 2], BUFFER_SIZE / 2);
}

/*void USB_CDC_RxCallback(uint8_t* buf, uint32_t len)
{
    Terminal_USB_CDC_Callback(buf, len);
}*/

void on_timer_25_msec(void)
{
    mki_task();
    ctrl_task();
    password_task();

    /*if(mux_is_active_line())
    {
        if(HAL_GPIO_ReadPin(VIZ_GPIO_Port, VIZ_Pin))
            HAL_GPIO_WritePin(mute_OP_GPIO_Port, mute_OP_Pin, GPIO_PIN_RESET);
        else
            HAL_GPIO_WritePin(mute_OP_GPIO_Port, mute_OP_Pin, GPIO_PIN_SET);
    }
    else
        HAL_GPIO_WritePin(mute_OP_GPIO_Port, mute_OP_Pin, GPIO_PIN_RESET);*/
}

void on_timer_50_msec(void)
{
    buzzer_task();
    //Terminal_Process();
    // memplay_task();
}

void on_timer_250_msec(void)
{
    console_task();
}

void on_timer_1_sec(void)
{
	//TODO
    //HAL_IWDG_Refresh(&hiwdg);

    if (fulog_buf[0] != '\0')
    {
        ulog(fulog_buf);
        fulog_buf[0] = '\0';
    }

    mki_status_LEDs_task();
}

void on_timer_1_min(void)
{
    akb_task();
}

//file log
void filelog(char * str)
{
    char buf[MAX_STR_SIZE];

    strcpy_s(buf, sizeof(buf), rtc_read_datetime_str(true));
    strcat_s(buf, sizeof(buf), " ");
    strcat_s(buf, sizeof(buf), str);
    //strcat_s(buf, sizeof(buf), CRLF);

    logfile_add(buf);
}
/* USER CODE END 0 */

int main(void)
{

  /* USER CODE BEGIN 1 */

  //if(magic_boot == 0xB00D0473)
  //  JumpToBootloader();
  /* USER CODE END 1 */

  /* MCU Configuration--------------------------------------------------------*/

  /* Reset of all peripherals, Initializes the Flash interface and the Systick. */
  HAL_Init();

  /* Configure the system clock */
  SystemClock_Config();

  /* Initialize all configured peripherals */
  MX_GPIO_Init();
  MX_DMA_Init();
  MX_USART3_UART_Init();
  MX_USB_Device_Init();
  MX_ADC1_Init();
  MX_ADC3_Init();
  MX_ADC2_Init();
  MX_ADC5_Init();
  MX_DAC1_Init();
  MX_I2C3_Init();
  MX_I2C4_Init();
  MX_DAC2_Init();
  MX_RTC_Init();
  MX_USART1_UART_Init();
  MX_ADC4_Init();
  MX_SPI1_Init();
  MX_TIM15_Init();
  MX_SAI1_Init();
  MX_TIM4_Init();
  MX_TIM20_Init();
  /* USER CODE BEGIN 2 */

  //MX_USB_DEVICE_Init();

  HAL_DAC_MspInit(&hdac1); //!!!!! ВАЖНО НЕ БУДЕТ РАБОТАТЬ DAC DMA БЕЗ ЭТОЙ СТРОЧК�?
  HAL_DAC_MspInit(&hdac2); //!!!!! ВАЖНО НЕ БУДЕТ РАБОТАТЬ DAC DMA БЕЗ ЭТОЙ СТРОЧК�?

  HAL_ADCEx_Calibration_Start(&hadc1, ADC_SINGLE_ENDED);
  HAL_ADCEx_Calibration_Start(&hadc2, ADC_SINGLE_ENDED);
  HAL_ADCEx_Calibration_Start(&hadc4, ADC_SINGLE_ENDED);
  HAL_ADCEx_Calibration_Start(&hadc5, ADC_SINGLE_ENDED);

  HAL_Delay(100);

  ulog(CRLF"Start Trombon BS-16"CRLF);
  //ulog_fmt("Version: %s"CRLF, VERSION);
  ulog_fmt("Version: %s"CRLF, "1.0"); // TODO

  mki_init();
  mux_init();
  //console_init();

  fatfs_mount = false;

  if (flash_init())
  {
      ulog("main: W25Q detected"CRLF);

      fatfs_mount = f_mount_cnt(&f_global_fatfs, 3);
      if (!fatfs_mount)  fatfs_mount = f_format_and_mount(&f_global_fatfs, F_MKFS_FMT_DEFAULT);
      ulog_fmt("main: FatFs f_mount() %s"CRLF, fatfs_mount ? "ok" : "error");
  }
  else ulog("main: error W25Q not detected"CRLF);

  if (fatfs_mount)
  {
      if (f_exists(BC16_LOADER_FILE_NAME))
      {
          ulog("Copy "BC16_LOADER_FILE_NAME" to stm32 flash base"CRLF);
          f_erase_and_copy_to_flash(BC16_LOADER_FILE_NAME, FLASH_BASE, BC16_FLASH_TYPE);
          ulog("Unlink "BC16_LOADER_FILE_NAME""CRLF);
          f_unlink(BC16_LOADER_FILE_NAME);
      }
  }
  else
  {
      ulog("main: error mount FatFs"CRLF);
      set_fault(FAULT_HARDWARE_ERROR);
  }

  load_setting();
  ulog_fmt("main: cfg "SETTING_KEY_MIC_VOLUME"=%d"CRLF, setting.mic_volume);
  ulog_fmt("main: cfg "SETTING_KEY_SPK_VOLUME"=%d"CRLF, setting.mic_volume);
  ulog_fmt("main: cfg "SETTING_KEY_DATE_TIME" =%s"CRLF, setting.date_time );

  if (HAL_I2C_IsDeviceReady(RTC_I2C_HANDLE, (RTC_I2C_ADDRESS << 1), 3, 1000) != HAL_OK)
  {
      ulog_fmt("main: error bq32000 not ready"CRLF);
      set_fault(FAULT_HARDWARE_ERROR);
  }
  rtc_init();
  //RTC_Time rtcTime;
  //rtcTime.year = 24;
  //rtcTime.hours  = 1;
  //rtcTime.seconds = 23;
  //rtcTime.month = 4;
  //rtcTime.minutes =5;
  //rtcTime.dayOfWeek =2;
  //rtcTime.day =6;
  //RTC_BQ32000_SetTime(&hi2c3, &rtcTime);
  ulog_fmt("BQ32000: datetime now %s"CRLF, rtc_read_datetime_str(true));

  if (strlen(setting.date_time))
  {
      rtc_set_datetime_str(setting.date_time);
      memset(setting.date_time, 0, sizeof(setting.date_time));
      save_setting();
  }
  else if ( ((globalRTC_Time.year < 26) || (globalRTC_Time.year > 40)) ||
          !MONTH_GOD(globalRTC_Time.month)    ||
          !DATE_GOD(globalRTC_Time.day)       ||
          !HOUR_GOD(globalRTC_Time.hours)     ||
          !MINUTE_GOD(globalRTC_Time.minutes) ||
          !SECOND_GOD(globalRTC_Time.seconds) )
  {
      rtc_set_datetime_str("2026-01-19T10:16:01");
  }

  password_init(0x0123);
  #warning hardcoded pass
  akb_init();
  //ctrl_init();

  static timer_t timer_25_msec;
  startTimer(&timer_25_msec);

  static timer_t timer_50_msec;
  startTimer(&timer_50_msec);

  static timer_t timer_250_msec;
  startTimer(&timer_250_msec);

  static timer_t timer_1_sec;
  startTimer(&timer_1_sec);

  static timer_t timer_1_min;
  startTimer(&timer_1_min);

  filelog("Перезагрузка"CRLF);

  // memplay_init(sound_buf, sizeof(sound_buf));
  // memplay(start_sound, sizeof(start_sound), &spk_dacplay_data, setting.spk_volume, &htim15);

  //

  /*buzzer_init(&hdac1, DAC_CHANNEL_2, &htim15);
  buzzer_make_sound(250, 440, 0x10);
  buzzer_add_queue (250, 494, 0x10);
  buzzer_add_queue (250, 554, 0x10);*/
  ulog("BS-16 goto loop"CRLF);
  /* USER CODE END 2 */

  /* Infinite loop */
  /* USER CODE BEGIN WHILE */

  akb_task();
  //i2c_scan();
  HAL_Delay(100);
  sin_gen(sai_buffer, TOTAL_SAMPLES * TDM_CHANNELS);
  if (disable_sound) {
	  HAL_SAI_DMAStop(&hsai_BlockA1);
	  TAS5720_WriteReg(TAS5720_REG_POWER_CTRL, 0xFC);
  }

  //HAL_ADC_Start(LOCAL_MIC_ADC_HANDLE);

  HAL_TIM_Base_Start(&htim4);
  //HAL_TIM_Base_Start(LOCAL_MIC_ADC_TIM_HANDLE);
  //HAL_TIM_Base_Start(REMOTE_MIC_ADC_TIM_HANDLE);
  //buzzer_init(&hdac1, DAC_CHANNEL_2, &htim15);
  //buzzer_make_sound(250, 440, 0x10);
  mcp_init();
  local_mic_start();
  remote_spk_start();
  remote_mic_start();
  //buzzer_init(&hdac1, DAC_CHANNEL_2, &htim15);
  local_spk_start();
  while (1)
  {
    /* USER CODE END WHILE */

    /* USER CODE BEGIN 3 */
	//HAL_I2C_Init(&hi2c4);
	//HAL_I2C_Mem_Read(&hi2c4, 0x6c, )
	//HAL_I2C_(&hi2c4);
	  //int pca9535_set_reg(pca9535_t * pca9535, pca9535_reg_type_t reg_type, pca9535_port_t port, unsigned char *value, int len) {
	  /*pca9535_set_reg(&pca9535_t_0, PCA9535_REG_TYPE_OUTPUT , PCA9535_PORT_BOTH , testreg, 2);
	  HAL_Delay(500);
	  pca9535_set_reg(&pca9535_t_0, PCA9535_REG_TYPE_OUTPUT , PCA9535_PORT_BOTH , testreg2, 2);*/
	  //HAL_Delay(100);
	  /*_err_sai = HAL_SAI_Transmit_DMA(&hsai_BlockA1, (uint8_t *)testsound, 32);
	  if(_err_sai != HAL_OK )
	  {
	    Error_Handler();
	  }*/
	  //test_i2c_tas5720();
    /*if(isTimerExpired(&timer_1_min,  60000))
      on_timer_1_min();

    if(isTimerExpired(&timer_1_sec,   1000))
      on_timer_1_sec();

    if(isTimerExpired(&timer_250_msec, 250))
      on_timer_250_msec();

    if(isTimerExpired(&timer_50_msec,   50))
      on_timer_50_msec();

    if(isTimerExpired(&timer_25_msec,   25))
      on_timer_25_msec();*/
	  //HAL_DAC_Start();

	if (tas_i2c_debug_status != 0x00 && !disable_sound)
	{

		TAS5720_WriteReg(TAS5720_REG_POWER_CTRL, 0xFC);
		if (tas_i2c_debug_status == 0x02){
		}
		HAL_Delay(100); // Даем время усилителю синхронизировать свой внутренний ШИМ-генератор
		HAL_SAI_DMAStop(&hsai_BlockA1);
		HAL_Delay(100);
		HAL_SAI_Transmit_DMA(&hsai_BlockA1, (uint8_t*)sai_buffer, TOTAL_SAMPLES * TDM_CHANNELS);//AUDIO_BUF_SIZE);
		//HAL_SAI_Transmit_DMA(&hsai_BlockA1, (uint8_t*)silence_buffer, 64);
		HAL_Delay(100);
		TAS5720_WriteReg(TAS5720_REG_POWER_CTRL, 0xFD);
	}
	if (refill_arr)
	{
		sin_gen(sai_buffer, TOTAL_SAMPLES * TDM_CHANNELS);
		//refill_arr = 0;
	}
	if (reset_timer)
	{
		reset_timer = 0;
		HAL_TIM_Base_Stop(REMOTE_MIC_ADC_TIM_HANDLE);
		//set_tim_frequency2(&htim15, d_BASE_AUDIO_FREQUENCY, d_BASE_FREQUENCY);
		HAL_TIM_Base_Start(REMOTE_MIC_ADC_TIM_HANDLE);
	}
	set_dd4(test_output);
	set_mux_line(8);
	HAL_Delay(100);
	bat_con();
	akb_task();
  }
  /* USER CODE END 3 */
}

void SystemClock_Config(void)
{
  RCC_OscInitTypeDef RCC_OscInitStruct = {0};
  RCC_ClkInitTypeDef RCC_ClkInitStruct = {0};

  /** Configure the main internal regulator output voltage
  */
  HAL_PWREx_ControlVoltageScaling(PWR_REGULATOR_VOLTAGE_SCALE1_BOOST);

  /** Configure LSE Drive Capability
  */
  HAL_PWR_EnableBkUpAccess();
  __HAL_RCC_LSEDRIVE_CONFIG(RCC_LSEDRIVE_LOW);

  /** Initializes the RCC Oscillators according to the specified parameters
  * in the RCC_OscInitTypeDef structure.
  */
  RCC_OscInitStruct.OscillatorType = RCC_OSCILLATORTYPE_HSI48|RCC_OSCILLATORTYPE_HSE
                              |RCC_OSCILLATORTYPE_LSE;
  RCC_OscInitStruct.HSEState = RCC_HSE_ON;
  RCC_OscInitStruct.LSEState = RCC_LSE_ON;
  RCC_OscInitStruct.HSI48State = RCC_HSI48_ON;
  RCC_OscInitStruct.PLL.PLLState = RCC_PLL_ON;
  RCC_OscInitStruct.PLL.PLLSource = RCC_PLLSOURCE_HSE;
  RCC_OscInitStruct.PLL.PLLM = RCC_PLLM_DIV1;
  RCC_OscInitStruct.PLL.PLLN = 27;
  RCC_OscInitStruct.PLL.PLLP = RCC_PLLP_DIV2;
  RCC_OscInitStruct.PLL.PLLQ = RCC_PLLQ_DIV2;
  RCC_OscInitStruct.PLL.PLLR = RCC_PLLR_DIV2;
  if (HAL_RCC_OscConfig(&RCC_OscInitStruct) != HAL_OK)
  {
    Error_Handler();
  }

  /** Initializes the CPU, AHB and APB buses clocks
  */
  RCC_ClkInitStruct.ClockType = RCC_CLOCKTYPE_HCLK|RCC_CLOCKTYPE_SYSCLK
                              |RCC_CLOCKTYPE_PCLK1|RCC_CLOCKTYPE_PCLK2;
  RCC_ClkInitStruct.SYSCLKSource = RCC_SYSCLKSOURCE_PLLCLK;
  RCC_ClkInitStruct.AHBCLKDivider = RCC_SYSCLK_DIV1;
  RCC_ClkInitStruct.APB1CLKDivider = RCC_HCLK_DIV1;
  RCC_ClkInitStruct.APB2CLKDivider = RCC_HCLK_DIV1;

  if (HAL_RCC_ClockConfig(&RCC_ClkInitStruct, FLASH_LATENCY_4) != HAL_OK)
  {
    Error_Handler();
  }
  HAL_RCC_MCOConfig(RCC_MCO1, RCC_MCO1SOURCE_HSE, RCC_MCODIV_1);
}

void Error_Handler(void)
{
  __disable_irq();
  while (1)
  {
  }
}
